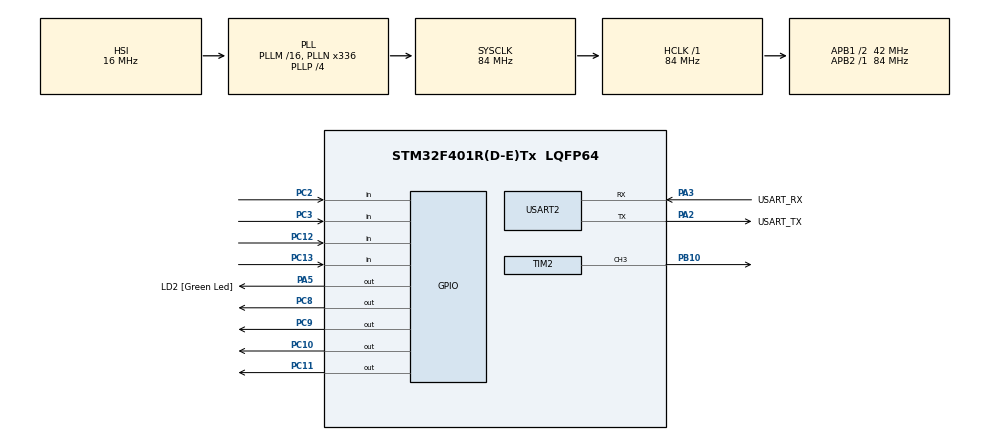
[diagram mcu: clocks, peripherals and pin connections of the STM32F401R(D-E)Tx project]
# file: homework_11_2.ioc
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Mcu.Family=STM32F4
Mcu.Name=STM32F401R(D-E)Tx
Mcu.Package=LQFP64
NVIC.PriorityGroup=NVIC_PRIORITYGROUP_1
NVIC.TIM1_TRG_COM_TIM11_IRQn=true\:1\:0\:true\:false\:true\:true\:true\:true
NVIC.TIM1_UP_TIM10_IRQn=true\:0\:0\:false\:false\:true\:true\:true\:true
PA13.GPIO_Label=TMS
PA13.Mode=Serial_Wire
PA13.Signal=SYS_JTMS-SWDIO
PA14.GPIO_Label=TCK
PA14.Mode=Serial_Wire
PA14.Signal=SYS_JTCK-SWCLK
PA2.GPIO_Label=USART_TX
PA2.GPIO_Mode=GPIO_MODE_AF_PP
PA2.GPIO_PuPd=GPIO_NOPULL
PA2.GPIO_Speed=GPIO_SPEED_FREQ_LOW
PA2.Mode=Asynchronous
PA2.Signal=USART2_TX
PA3.GPIO_Label=USART_RX
PA3.GPIO_Mode=GPIO_MODE_AF_PP
PA3.GPIO_PuPd=GPIO_NOPULL
PA3.GPIO_Speed=GPIO_SPEED_FREQ_LOW
PA3.Mode=Asynchronous
PA3.Signal=USART2_RX
PA5.GPIO_Label=LD2 [Green Led]
PA5.GPIO_Mode=GPIO_MODE_OUTPUT_PP
PA5.GPIO_PuPd=GPIO_NOPULL
PA5.GPIO_Speed=GPIO_SPEED_FREQ_LOW
PA5.Signal=GPIO_Output
PB10.Signal=S_TIM2_CH3
PB3.GPIO_Label=SWO
PB3.Signal=SYS_JTDO-SWO
PC10.Signal=GPIO_Output
PC11.Signal=GPIO_Output
PC12.Signal=GPIO_Input
PC13-ANTI_TAMP.Signal=GPIO_Input
PC14-OSC32_IN.Mode=LSE-External-Oscillator
PC14-OSC32_IN.Signal=RCC_OSC32_IN
PC15-OSC32_OUT.Mode=LSE-External-Oscillator
PC15-OSC32_OUT.Signal=RCC_OSC32_OUT
PC2.Signal=GPIO_Input
PC3.Signal=GPIO_Input
PC8.Signal=GPIO_Output
PC9.Signal=GPIO_Output
PH0\ -\ OSC_IN.Mode=HSE-External-Clock-Source
PH0\ -\ OSC_IN.Signal=RCC_OSC_IN
PH1\ -\ OSC_OUT.Mode=HSE-External-Clock-Source
PH1\ -\ OSC_OUT.Signal=RCC_OSC_OUT
ProjectManager.HeapSize=0x200
ProjectManager.StackSize=0x400
ProjectManager.TargetToolchain=STM32CubeIDE
RCC.48MHZClocksFreq_Value=48000000
RCC.AHBFreq_Value=84000000
RCC.APB1CLKDivider=RCC_HCLK_DIV2
RCC.APB1Freq_Value=42000000
RCC.APB1TimFreq_Value=84000000
RCC.APB2Freq_Value=84000000
RCC.APB2TimFreq_Value=84000000
RCC.CortexFreq_Value=84000000
RCC.HCLKFreq_Value=84000000
RCC.HSE_VALUE=8000000
RCC.HSI_VALUE=16000000
RCC.PLLN=336
RCC.PLLP=RCC_PLLP_DIV4
RCC.PLLQ=7
RCC.SYSCLKFreq_VALUE=84000000
RCC.SYSCLKSource=RCC_SYSCLKSOURCE_PLLCLK
RCC.VCOOutputFreq_Value=336000000
SH.S_TIM2_CH3.0=TIM2_CH3,PWM Generation3 CH3
TIM10.Period=35000-1
TIM10.Prescaler=0
TIM11.Period=42000-1
TIM11.Prescaler=100-1
TIM2.Channel-PWM\ Generation3\ CH3=TIM_CHANNEL_3
TIM2.Period=2210-1
TIM2.Pulse-PWM\ Generation3\ CH3=1105-1
USART2.VirtualMode=VM_ASYNC
VP_TIM10_VS_ClockSourceINT.Mode=Enable_Timer
VP_TIM11_VS_ClockSourceINT.Mode=Enable_Timer
board=NUCLEO-F401RE

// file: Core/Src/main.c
/* USER CODE BEGIN Header */
/**
  ******************************************************************************
  * @file           : main.c
  * @brief          : Main program body
  ******************************************************************************
  * @attention
  *
  * Copyright (c) 2022 STMicroelectronics.
  * All rights reserved.
  *
  * This software is licensed under terms that can be found in the LICENSE file
  * in the root directory of this software component.
  * If no LICENSE file comes with this software, it is provided AS-IS.
  *
  ******************************************************************************
  */
/* USER CODE END Header */
#include "main.h"

/* USER CODE BEGIN PTD */
typedef enum {true, false} bool;
/* USER CODE END PTD */

TIM_HandleTypeDef htim2;
TIM_HandleTypeDef htim10;
TIM_HandleTypeDef htim11;

UART_HandleTypeDef huart2;

/* USER CODE BEGIN PV */

//--------------------------MATRIX-RELATED VARIABLES--------------------------//
bool STARTUP_OVERFLOW_TIM11 = true;
uint16_t KEYB_R[4] = {GPIO_PIN_12, GPIO_PIN_13, GPIO_PIN_2, GPIO_PIN_3};
uint16_t KEYB_C[4] = {GPIO_PIN_8, GPIO_PIN_9, GPIO_PIN_10, GPIO_PIN_11};

int j=0;    //moving column index

int START_COUNT[4][4]={
  {0, 0, 0, 0},
  {0, 0, 0, 0},
  {0, 0, 0, 0},
  {0, 0, 0, 0}
};

int ALREADY_PRINTED[4][4]={
  {0, 0, 0, 0},
  {0, 0, 0, 0},
  {0, 0, 0, 0},
  {0, 0, 0, 0}
};

int MILLIS_OF_PRESS[4][4]={
  {0, 0, 0, 0},
  {0, 0, 0, 0},
  {0, 0, 0, 0},
  {0, 0, 0, 0}
};

char CHAR_MATRIX[4][4]={
  {'0', '1', '2', '3'},
  {'4', '5', '6', '7'},
  {'8', '9', 'A', 'B'},
  {'C', 'D', 'E', 'F'}
};
//----------------------------------------------------------------------------//

//-------------------------INFRARED-RELATED VARIABLES-------------------------//
bool STARTUP_OVERFLOW_TIM10 = true;
bool INFRARED_BUSY = false;
int complete_byte[9];
int B=0;
int string_length;
//----------------------------------------------------------------------------//

/* USER CODE END PV */

void SystemClock_Config(void);
static void MX_GPIO_Init(void);
static void MX_USART2_UART_Init(void);
static void MX_TIM2_Init(void);
static void MX_TIM10_Init(void);
static void MX_TIM11_Init(void);

/* USER CODE BEGIN 0 */

void HAL_TIM_PeriodElapsedCallback(TIM_HandleTypeDef* calling_timer){
  if(calling_timer==&htim11){         //timer11 set to trigger every 50ms
    timer11_custom_callback();
  }
  else if(calling_timer==&htim10){    //timer10 set to trigger every (1/2400)s
    timer10_custom_callback();
  }
}

//-------------------------MATRIX-RELATED FUNCTIONS---------------------------//
void timer11_custom_callback(){
  if(STARTUP_OVERFLOW_TIM11==true){
    STARTUP_OVERFLOW_TIM11=false;
  }
  else{
    activate_next_column();           //NOTE: we need to set the Systick interrupt to a higher priority level
    HAL_Delay(10);                    //in order to execute a delay inside another callback (nested interrupt,
                                      //lower preemption --> higher priority). See ioc configuration for details
    //Updating all press times
    for(int Y=0; Y<4; Y++){
      for(int K=0; K<4; K++){
        if(START_COUNT[Y][K]==1){                                   //key was detected pressed in a previous callback...
          MILLIS_OF_PRESS[Y][K]=MILLIS_OF_PRESS[Y][K]+50;           //...so now it's been pressed for 50ms more
        }
      }
    }

    //Scanning through all rows
    for(int i=0; i<4; i++){
      if(HAL_GPIO_ReadPin(GPIOC, KEYB_R[i])==GPIO_PIN_RESET){
        if(START_COUNT[i][j]==0){                                   //first time key is detected pressed
          START_COUNT[i][j]=1;                                      //ready to count press time from next callback on
        }
      }
      else{
        START_COUNT[i][j]=0;
        ALREADY_PRINTED[i][j]=0;
        MILLIS_OF_PRESS[i][j]=0;
      }
    }

    //Moving to the next column
    j++;
    if(j==4){
      j=0;
    }
  }
}

void activate_next_column(){
  //Turn off all columns...
  for(int k=0; k<4; k++){
    HAL_GPIO_WritePin(GPIOC, KEYB_C[k], GPIO_PIN_RESET);
  }
  //...and turn on only the next column
  HAL_GPIO_WritePin(GPIOC, KEYB_C[j], GPIO_PIN_SET);      //remember that "j" is a moving index (and global variable)
}
//----------------------------------------------------------------------------//

//------------------------INFRARED-RELATED FUNCTIONS--------------------------//
void timer10_custom_callback(){
  if(STARTUP_OVERFLOW_TIM10==true){
    STARTUP_OVERFLOW_TIM10=false;
  }
  else{

    if(B<=8){
      if(complete_byte[B]==0){
        HAL_TIM_PWM_Start(&htim2, TIM_CHANNEL_3);
      }
      else if(complete_byte[B]==1){
        HAL_TIM_PWM_Stop(&htim2, TIM_CHANNEL_3);
      }
      B++;
    }

    else{     //all bits have been transmitted
      B=0;
      HAL_TIM_Base_Stop_IT(&htim10);
      //__HAL_TIM_SET_COUNTER(&htim10, 0);    //for safety, if necessary
      INFRARED_BUSY=false;
    }

  }
}

void infrared_UART(uint8_t byte_to_send){
  if(INFRARED_BUSY==false){
    INFRARED_BUSY=true;

    for(int h=0; h<8; h++){                                           //converting uint8_t into array of single bits
      complete_byte[7-h]=((byte_to_send)&(0b10000000>>h))>>(7-h);     //NOTE: we must invert the bit sequence
    }                                                                 //because it will be received inverted again

    complete_byte[8]=1;                            //appending stop bit
    HAL_TIM_PWM_Start(&htim2, TIM_CHANNEL_3);      //transmitting start bit
    HAL_TIM_Base_Start_IT(&htim10);
  }
  else{
    //do nothing, ignore request
  }
}
//----------------------------------------------------------------------------//

/* USER CODE END 0 */

int main(void)
{

  /* MCU Configuration--------------------------------------------------------*/

  /* Reset of all peripherals, Initializes the Flash interface and the Systick. */
  HAL_Init();

  /* Configure the system clock */
  SystemClock_Config();

  /* Initialize all configured peripherals */
  MX_GPIO_Init();
  MX_USART2_UART_Init();
  MX_TIM2_Init();
  MX_TIM10_Init();
  MX_TIM11_Init();
  /* USER CODE BEGIN 2 */
  HAL_TIM_Base_Start_IT(&htim11);
  /* USER CODE END 2 */

  /* Infinite loop */
  /* USER CODE BEGIN WHILE */
  while (1)
  {
    for(int I=0; I<4; I++){                                  //continuosly checking the press duration of all buttons
      for(int J=0; J<4; J++){
        if(MILLIS_OF_PRESS[I][J]>=200){
          if(ALREADY_PRINTED[I][J]==0){
            infrared_UART((uint8_t)(CHAR_MATRIX[I][J]));     //pressings shorter than 200ms will be igniored
            ALREADY_PRINTED[I][J]=1;
          }
          else{
            //do nothing
          }
        }
      }
    }
    /* USER CODE END WHILE */

  }
}

void SystemClock_Config(void)
{
  RCC_OscInitTypeDef RCC_OscInitStruct = {0};
  RCC_ClkInitTypeDef RCC_ClkInitStruct = {0};

  /** Configure the main internal regulator output voltage
  */
  __HAL_RCC_PWR_CLK_ENABLE();
  __HAL_PWR_VOLTAGESCALING_CONFIG(PWR_REGULATOR_VOLTAGE_SCALE2);

  /** Initializes the RCC Oscillators according to the specified parameters
  * in the RCC_OscInitTypeDef structure.
  */
  RCC_OscInitStruct.OscillatorType = RCC_OSCILLATORTYPE_HSI;
  RCC_OscInitStruct.HSIState = RCC_HSI_ON;
  RCC_OscInitStruct.HSICalibrationValue = RCC_HSICALIBRATION_DEFAULT;
  RCC_OscInitStruct.PLL.PLLState = RCC_PLL_ON;
  RCC_OscInitStruct.PLL.PLLSource = RCC_PLLSOURCE_HSI;
  RCC_OscInitStruct.PLL.PLLM = 16;
  RCC_OscInitStruct.PLL.PLLN = 336;
  RCC_OscInitStruct.PLL.PLLP = RCC_PLLP_DIV4;
  RCC_OscInitStruct.PLL.PLLQ = 7;
  if (HAL_RCC_OscConfig(&RCC_OscInitStruct) != HAL_OK)
  {
    Error_Handler();
  }

  /** Initializes the CPU, AHB and APB buses clocks
  */
  RCC_ClkInitStruct.ClockType = RCC_CLOCKTYPE_HCLK|RCC_CLOCKTYPE_SYSCLK
                              |RCC_CLOCKTYPE_PCLK1|RCC_CLOCKTYPE_PCLK2;
  RCC_ClkInitStruct.SYSCLKSource = RCC_SYSCLKSOURCE_PLLCLK;
  RCC_ClkInitStruct.AHBCLKDivider = RCC_SYSCLK_DIV1;
  RCC_ClkInitStruct.APB1CLKDivider = RCC_HCLK_DIV2;
  RCC_ClkInitStruct.APB2CLKDivider = RCC_HCLK_DIV1;

  if (HAL_RCC_ClockConfig(&RCC_ClkInitStruct, FLASH_LATENCY_2) != HAL_OK)
  {
    Error_Handler();
  }
}

static void MX_TIM2_Init(void)
{

  TIM_MasterConfigTypeDef sMasterConfig = {0};
  TIM_OC_InitTypeDef sConfigOC = {0};

  htim2.Instance = TIM2;
  htim2.Init.Prescaler = 0;
  htim2.Init.CounterMode = TIM_COUNTERMODE_UP;
  htim2.Init.Period = 2210-1;
  htim2.Init.ClockDivision = TIM_CLOCKDIVISION_DIV1;
  htim2.Init.AutoReloadPreload = TIM_AUTORELOAD_PRELOAD_DISABLE;
  if (HAL_TIM_PWM_Init(&htim2) != HAL_OK)
  {
    Error_Handler();
  }
  sMasterConfig.MasterOutputTrigger = TIM_TRGO_RESET;
  sMasterConfig.MasterSlaveMode = TIM_MASTERSLAVEMODE_DISABLE;
  if (HAL_TIMEx_MasterConfigSynchronization(&htim2, &sMasterConfig) != HAL_OK)
  {
    Error_Handler();
  }
  sConfigOC.OCMode = TIM_OCMODE_PWM1;
  sConfigOC.Pulse = 1105-1;
  sConfigOC.OCPolarity = TIM_OCPOLARITY_HIGH;
  sConfigOC.OCFastMode = TIM_OCFAST_DISABLE;
  if (HAL_TIM_PWM_ConfigChannel(&htim2, &sConfigOC, TIM_CHANNEL_3) != HAL_OK)
  {
    Error_Handler();
  }
  HAL_TIM_MspPostInit(&htim2);

}

static void MX_TIM10_Init(void)
{

  htim10.Instance = TIM10;
  htim10.Init.Prescaler = 0;
  htim10.Init.CounterMode = TIM_COUNTERMODE_UP;
  htim10.Init.Period = 35000-1;
  htim10.Init.ClockDivision = TIM_CLOCKDIVISION_DIV1;
  htim10.Init.AutoReloadPreload = TIM_AUTORELOAD_PRELOAD_DISABLE;
  if (HAL_TIM_Base_Init(&htim10) != HAL_OK)
  {
    Error_Handler();
  }

}

static void MX_TIM11_Init(void)
{

  htim11.Instance = TIM11;
  htim11.Init.Prescaler = 100-1;
  htim11.Init.CounterMode = TIM_COUNTERMODE_UP;
  htim11.Init.Period = 42000-1;
  htim11.Init.ClockDivision = TIM_CLOCKDIVISION_DIV1;
  htim11.Init.AutoReloadPreload = TIM_AUTORELOAD_PRELOAD_DISABLE;
  if (HAL_TIM_Base_Init(&htim11) != HAL_OK)
  {
    Error_Handler();
  }

}

static void MX_USART2_UART_Init(void)
{

  huart2.Instance = USART2;
  huart2.Init.BaudRate = 115200;
  huart2.Init.WordLength = UART_WORDLENGTH_8B;
  huart2.Init.StopBits = UART_STOPBITS_1;
  huart2.Init.Parity = UART_PARITY_NONE;
  huart2.Init.Mode = UART_MODE_TX_RX;
  huart2.Init.HwFlowCtl = UART_HWCONTROL_NONE;
  huart2.Init.OverSampling = UART_OVERSAMPLING_16;
  if (HAL_UART_Init(&huart2) != HAL_OK)
  {
    Error_Handler();
  }

}

static void MX_GPIO_Init(void)
{
  GPIO_InitTypeDef GPIO_InitStruct = {0};

  /* GPIO Ports Clock Enable */
  __HAL_RCC_GPIOC_CLK_ENABLE();
  __HAL_RCC_GPIOH_CLK_ENABLE();
  __HAL_RCC_GPIOA_CLK_ENABLE();
  __HAL_RCC_GPIOB_CLK_ENABLE();

  /*Configure GPIO pin Output Level */
  HAL_GPIO_WritePin(LD2_GPIO_Port, LD2_Pin, GPIO_PIN_RESET);

  /*Configure GPIO pin Output Level */
  HAL_GPIO_WritePin(GPIOC, GPIO_PIN_8|GPIO_PIN_9|GPIO_PIN_10|GPIO_PIN_11, GPIO_PIN_RESET);

  /*Configure GPIO pins : PC13 PC2 PC3 PC12 */
  GPIO_InitStruct.Pin = GPIO_PIN_13|GPIO_PIN_2|GPIO_PIN_3|GPIO_PIN_12;
  GPIO_InitStruct.Mode = GPIO_MODE_INPUT;
  GPIO_InitStruct.Pull = GPIO_NOPULL;
  HAL_GPIO_Init(GPIOC, &GPIO_InitStruct);

  /*Configure GPIO pin : LD2_Pin */
  GPIO_InitStruct.Pin = LD2_Pin;
  GPIO_InitStruct.Mode = GPIO_MODE_OUTPUT_PP;
  GPIO_InitStruct.Pull = GPIO_NOPULL;
  GPIO_InitStruct.Speed = GPIO_SPEED_FREQ_LOW;
  HAL_GPIO_Init(LD2_GPIO_Port, &GPIO_InitStruct);

  /*Configure GPIO pins : PC8 PC9 PC10 PC11 */
  GPIO_InitStruct.Pin = GPIO_PIN_8|GPIO_PIN_9|GPIO_PIN_10|GPIO_PIN_11;
  GPIO_InitStruct.Mode = GPIO_MODE_OUTPUT_PP;
  GPIO_InitStruct.Pull = GPIO_NOPULL;
  GPIO_InitStruct.Speed = GPIO_SPEED_FREQ_LOW;
  HAL_GPIO_Init(GPIOC, &GPIO_InitStruct);

}

void Error_Handler(void)
{
  __disable_irq();
  while (1)
  {
  }
}
